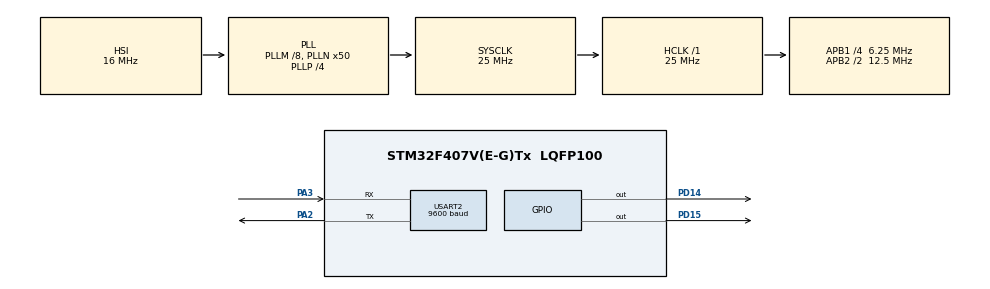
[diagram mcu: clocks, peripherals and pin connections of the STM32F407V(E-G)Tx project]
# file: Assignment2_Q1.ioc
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Mcu.Family=STM32F4
Mcu.Name=STM32F407V(E-G)Tx
Mcu.Package=LQFP100
NVIC.PriorityGroup=NVIC_PRIORITYGROUP_0
PA2.Mode=Asynchronous
PA2.Signal=USART2_TX
PA3.Mode=Asynchronous
PA3.Signal=USART2_RX
PD14.Signal=GPIO_Output
PD15.Signal=GPIO_Output
ProjectManager.HeapSize=0x200
ProjectManager.StackSize=0x400
ProjectManager.TargetToolchain=STM32CubeIDE
RCC.48MHZClocksFreq_Value=14285714.285714285
RCC.AHBFreq_Value=25000000
RCC.APB1CLKDivider=RCC_HCLK_DIV4
RCC.APB1Freq_Value=6250000
RCC.APB1TimFreq_Value=12500000
RCC.APB2CLKDivider=RCC_HCLK_DIV2
RCC.APB2Freq_Value=12500000
RCC.APB2TimFreq_Value=25000000
RCC.CortexFreq_Value=25000000
RCC.HCLKFreq_Value=25000000
RCC.HSE_VALUE=8000000
RCC.HSI_VALUE=16000000
RCC.LSE_VALUE=32768
RCC.PLLM=8
RCC.PLLN=50
RCC.PLLP=RCC_PLLP_DIV4
RCC.PLLQ=7
RCC.SYSCLKFreq_VALUE=25000000
RCC.SYSCLKSource=RCC_SYSCLKSOURCE_PLLCLK
RCC.VCOOutputFreq_Value=100000000
USART2.BaudRate=9600
USART2.VirtualMode=VM_ASYNC
board=STM32F407G-DISC1

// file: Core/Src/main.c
/* USER CODE BEGIN Header */
/**
  ******************************************************************************
  * @file           : main.c
  * @brief          : Main program body
  ******************************************************************************
  * @attention
  *
  * Copyright (c) 2026 STMicroelectronics.
  * All rights reserved.
  *
  * This software is licensed under terms that can be found in the LICENSE file
  * in the root directory of this software component.
  * If no LICENSE file comes with this software, it is provided AS-IS.
  *
  ******************************************************************************
  */
/* USER CODE END Header */
#include "main.h"

/* USER CODE BEGIN Includes */
#include<string.h>
#include<stdio.h>
/* USER CODE END Includes */

UART_HandleTypeDef huart2;

void SystemClock_Config(void);
static void MX_GPIO_Init(void);
static void MX_USART2_UART_Init(void);

/* USER CODE BEGIN 0 */

void UART_SendString(char *str){
	HAL_UART_Transmit(&huart2, (uint8_t*)str, strlen(str), HAL_MAX_DELAY);
}
/* USER CODE END 0 */

int main(void)
{
	uint8_t choice;

  /* MCU Configuration--------------------------------------------------------*/

  /* Reset of all peripherals, Initializes the Flash interface and the Systick. */
  HAL_Init();

  /* Configure the system clock */
  SystemClock_Config();

  /* Initialize all configured peripherals */
  MX_GPIO_Init();
  MX_USART2_UART_Init();

  /* Infinite loop */
  /* USER CODE BEGIN WHILE */
  while (1)
  {

	  UART_SendString("\r\n=========LED MENU========\r\n");
	  	  UART_SendString("1.RED LED ON\r\n");
	  	  UART_SendString("2.RED LED OFF\r\n");
	  	  UART_SendString("1.BLUE LED ON\r\n");
	  	  UART_SendString("2.BLUE LED OFF\r\n");
	  	  UART_SendString("Enter choice: ");

	  	  HAL_UART_Receive(&huart2, &choice,1,HAL_MAX_DELAY);

	  		  switch(choice)
	  		  {
	  		  	  case '1':
	  		  		  HAL_GPIO_WritePin(GPIOD, GPIO_PIN_14, GPIO_PIN_SET);
	  		  		  UART_SendString("RED LED ON\r\n");
	  		  		  break;
	  		  	  case '2':
	  		  		  HAL_GPIO_WritePin(GPIOD, GPIO_PIN_14, GPIO_PIN_RESET);
	  		  		  UART_SendString("RED LED OFF\r\n");
	  		  		  break;
	  		  	  case '3':
	  		  		  HAL_GPIO_WritePin(GPIOD, GPIO_PIN_15, GPIO_PIN_SET);
	  		  		  UART_SendString("BLUE LED ON\r\n");
	  		  		  break;
	  		  	  case '4':
	  		  		  HAL_GPIO_WritePin(GPIOD, GPIO_PIN_15, GPIO_PIN_RESET);
	  		  		  UART_SendString("BLUE LED OFF\r\n");
	  		  		  break;
	  		  	  default:
	  		  		  UART_SendString("INVALID CHOICE\r\n");
	  		  		  break;

	  		  }

    /* USER CODE END WHILE */

  }
}

void SystemClock_Config(void)
{
  RCC_OscInitTypeDef RCC_OscInitStruct = {0};
  RCC_ClkInitTypeDef RCC_ClkInitStruct = {0};

  /** Configure the main internal regulator output voltage
  */
  __HAL_RCC_PWR_CLK_ENABLE();
  __HAL_PWR_VOLTAGESCALING_CONFIG(PWR_REGULATOR_VOLTAGE_SCALE1);

  /** Initializes the RCC Oscillators according to the specified parameters
  * in the RCC_OscInitTypeDef structure.
  */
  RCC_OscInitStruct.OscillatorType = RCC_OSCILLATORTYPE_HSI;
  RCC_OscInitStruct.HSIState = RCC_HSI_ON;
  RCC_OscInitStruct.HSICalibrationValue = RCC_HSICALIBRATION_DEFAULT;
  RCC_OscInitStruct.PLL.PLLState = RCC_PLL_ON;
  RCC_OscInitStruct.PLL.PLLSource = RCC_PLLSOURCE_HSI;
  RCC_OscInitStruct.PLL.PLLM = 8;
  RCC_OscInitStruct.PLL.PLLN = 50;
  RCC_OscInitStruct.PLL.PLLP = RCC_PLLP_DIV4;
  RCC_OscInitStruct.PLL.PLLQ = 7;
  if (HAL_RCC_OscConfig(&RCC_OscInitStruct) != HAL_OK)
  {
    Error_Handler();
  }

  /** Initializes the CPU, AHB and APB buses clocks
  */
  RCC_ClkInitStruct.ClockType = RCC_CLOCKTYPE_HCLK|RCC_CLOCKTYPE_SYSCLK
                              |RCC_CLOCKTYPE_PCLK1|RCC_CLOCKTYPE_PCLK2;
  RCC_ClkInitStruct.SYSCLKSource = RCC_SYSCLKSOURCE_PLLCLK;
  RCC_ClkInitStruct.AHBCLKDivider = RCC_SYSCLK_DIV1;
  RCC_ClkInitStruct.APB1CLKDivider = RCC_HCLK_DIV4;
  RCC_ClkInitStruct.APB2CLKDivider = RCC_HCLK_DIV2;

  if (HAL_RCC_ClockConfig(&RCC_ClkInitStruct, FLASH_LATENCY_0) != HAL_OK)
  {
    Error_Handler();
  }
}

static void MX_USART2_UART_Init(void)
{

  huart2.Instance = USART2;
  huart2.Init.BaudRate = 9600;
  huart2.Init.WordLength = UART_WORDLENGTH_8B;
  huart2.Init.StopBits = UART_STOPBITS_1;
  huart2.Init.Parity = UART_PARITY_NONE;
  huart2.Init.Mode = UART_MODE_TX_RX;
  huart2.Init.HwFlowCtl = UART_HWCONTROL_NONE;
  huart2.Init.OverSampling = UART_OVERSAMPLING_16;
  if (HAL_UART_Init(&huart2) != HAL_OK)
  {
    Error_Handler();
  }

}

static void MX_GPIO_Init(void)
{
  GPIO_InitTypeDef GPIO_InitStruct = {0};

  /* GPIO Ports Clock Enable */
  __HAL_RCC_GPIOA_CLK_ENABLE();
  __HAL_RCC_GPIOD_CLK_ENABLE();

  /*Configure GPIO pin Output Level */
  HAL_GPIO_WritePin(GPIOD, GPIO_PIN_14|GPIO_PIN_15, GPIO_PIN_RESET);

  /*Configure GPIO pins : PD14 PD15 */
  GPIO_InitStruct.Pin = GPIO_PIN_14|GPIO_PIN_15;
  GPIO_InitStruct.Mode = GPIO_MODE_OUTPUT_PP;
  GPIO_InitStruct.Pull = GPIO_NOPULL;
  GPIO_InitStruct.Speed = GPIO_SPEED_FREQ_LOW;
  HAL_GPIO_Init(GPIOD, &GPIO_InitStruct);

}

void Error_Handler(void)
{
  __disable_irq();
  while (1)
  {
  }
}
